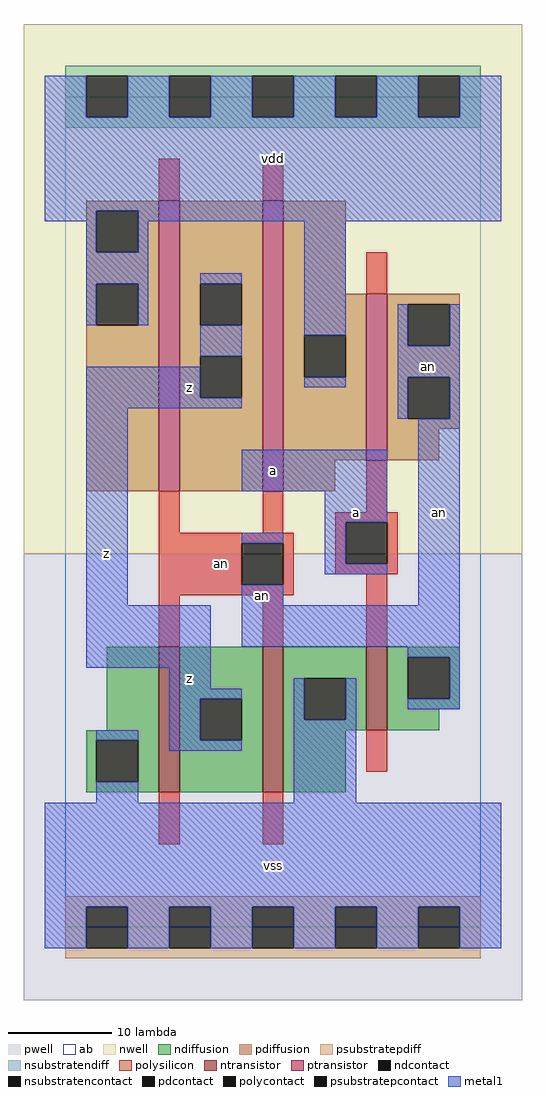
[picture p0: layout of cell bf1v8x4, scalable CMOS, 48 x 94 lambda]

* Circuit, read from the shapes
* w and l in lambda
.subckt bf1v8x4 a an vdd vss z
M1 z an vss vss nfet w=14 l=2 m=2
M2 an a vss vss nfet w=8 l=2
M3 z an vdd vdd pfet w=28 l=2 m=2
M4 an a vdd vdd pfet w=16 l=2
.ends

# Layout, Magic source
magic
tech scmos
<< ab >>
rect 0 0 40 80
<< pwell >>
rect -4 -7 44 36
<< nwell >>
rect -4 36 44 87
<< polysilicon >>
rect 9 70 11 74
rect 19 70 21 74
rect 29 61 31 65
rect 9 38 11 42
rect 19 38 21 42
rect 29 40 31 45
rect 26 39 32 40
rect 9 37 22 38
rect 9 33 17 37
rect 21 33 22 37
rect 26 35 27 39
rect 31 35 32 39
rect 26 34 32 35
rect 9 32 22 33
rect 9 27 11 32
rect 19 27 21 32
rect 29 27 31 34
rect 29 15 31 19
rect 9 8 11 13
rect 19 8 21 13
<< ndiffusion >>
rect 4 19 9 27
rect 2 18 9 19
rect 2 14 3 18
rect 7 14 9 18
rect 2 13 9 14
rect 11 22 19 27
rect 11 18 13 22
rect 17 18 19 22
rect 11 13 19 18
rect 21 24 29 27
rect 21 20 23 24
rect 27 20 29 24
rect 21 19 29 20
rect 31 26 38 27
rect 31 22 33 26
rect 37 22 38 26
rect 31 21 38 22
rect 31 19 36 21
rect 21 13 27 19
<< pdiffusion >>
rect 2 69 9 70
rect 2 65 3 69
rect 7 65 9 69
rect 2 62 9 65
rect 2 58 3 62
rect 7 58 9 62
rect 2 42 9 58
rect 11 62 19 70
rect 11 58 13 62
rect 17 58 19 62
rect 11 55 19 58
rect 11 51 13 55
rect 17 51 19 55
rect 11 42 19 51
rect 21 61 27 70
rect 21 57 29 61
rect 21 53 23 57
rect 27 53 29 57
rect 21 45 29 53
rect 31 60 38 61
rect 31 56 33 60
rect 37 56 38 60
rect 31 53 38 56
rect 31 49 33 53
rect 37 49 38 53
rect 31 48 38 49
rect 31 45 36 48
rect 21 42 26 45
<< metal1 >>
rect -2 78 2 82
rect 6 78 10 82
rect 14 78 18 82
rect 22 78 26 82
rect 30 78 34 82
rect 38 78 42 82
rect -2 69 42 78
rect -2 68 3 69
rect 2 65 3 68
rect 7 68 42 69
rect 7 65 8 68
rect 2 62 8 65
rect 2 58 3 62
rect 7 58 8 62
rect 13 62 17 63
rect 13 55 17 58
rect 2 51 13 54
rect 23 57 27 68
rect 23 52 27 53
rect 32 56 33 60
rect 37 56 38 60
rect 32 53 38 56
rect 2 50 17 51
rect 2 31 6 50
rect 32 49 33 53
rect 37 49 38 53
rect 17 42 31 46
rect 25 39 31 42
rect 17 37 21 38
rect 25 35 27 39
rect 25 34 31 35
rect 17 31 21 33
rect 34 31 38 49
rect 2 25 14 31
rect 17 27 38 31
rect 10 23 14 25
rect 33 26 38 27
rect 10 22 17 23
rect 3 18 7 19
rect 10 18 13 22
rect 10 17 17 18
rect 22 20 23 24
rect 27 20 28 24
rect 37 22 38 26
rect 33 21 38 22
rect 3 12 7 14
rect 22 12 28 20
rect -2 2 42 12
rect -2 -2 2 2
rect 6 -2 10 2
rect 14 -2 18 2
rect 22 -2 26 2
rect 30 -2 34 2
rect 38 -2 42 2
<< ntransistor >>
rect 9 13 11 27
rect 19 13 21 27
rect 29 19 31 27
<< ptransistor >>
rect 9 42 11 70
rect 19 42 21 70
rect 29 45 31 61
<< polycontact >>
rect 17 33 21 37
rect 27 35 31 39
<< ndcontact >>
rect 3 14 7 18
rect 13 18 17 22
rect 23 20 27 24
rect 33 22 37 26
<< pdcontact >>
rect 3 65 7 69
rect 3 58 7 62
rect 13 58 17 62
rect 13 51 17 55
rect 23 53 27 57
rect 33 56 37 60
rect 33 49 37 53
<< psubstratepcontact >>
rect 2 -2 6 2
rect 10 -2 14 2
rect 18 -2 22 2
rect 26 -2 30 2
rect 34 -2 38 2
<< nsubstratencontact >>
rect 2 78 6 82
rect 10 78 14 82
rect 18 78 22 82
rect 26 78 30 82
rect 34 78 38 82
<< psubstratepdiff >>
rect 0 2 40 3
rect 0 -2 2 2
rect 6 -2 10 2
rect 14 -2 18 2
rect 22 -2 26 2
rect 30 -2 34 2
rect 38 -2 40 2
rect 0 -3 40 -2
<< nsubstratendiff >>
rect 0 82 40 83
rect 0 78 2 82
rect 6 78 10 82
rect 14 78 18 82
rect 22 78 26 82
rect 30 78 34 82
rect 38 78 40 82
rect 0 77 40 78
<< labels >>
rlabel polysilicon 15 35 15 35 6 an
rlabel metal1 4 36 4 36 6 z
rlabel metal1 12 24 12 24 6 z
rlabel metal1 12 52 12 52 6 z
rlabel metal1 20 6 20 6 6 vss
rlabel metal1 19 32 19 32 6 an
rlabel metal1 28 40 28 40 6 a
rlabel metal1 20 44 20 44 6 a
rlabel metal1 20 74 20 74 6 vdd
rlabel metal1 36 40 36 40 6 an
rlabel metal1 35 54 35 54 6 an
<< end >>
